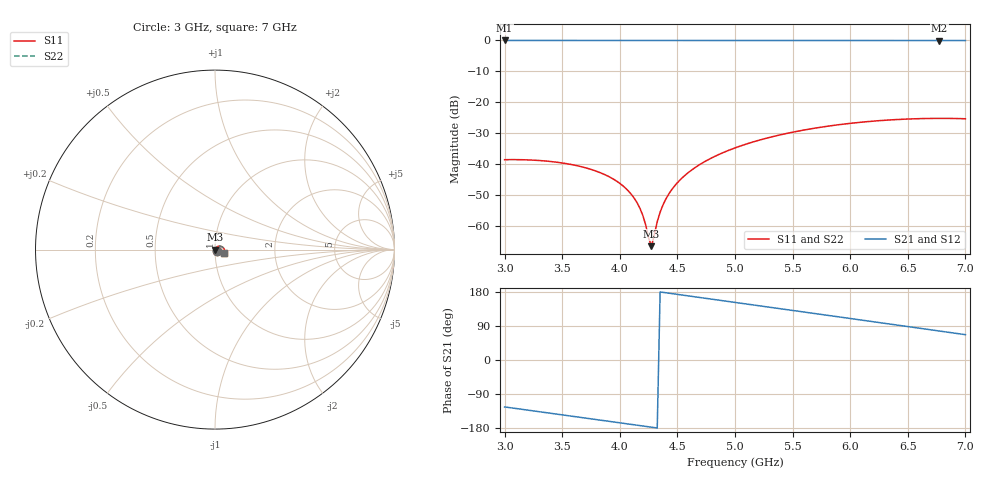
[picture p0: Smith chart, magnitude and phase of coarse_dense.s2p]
! yapnr rf: line-osh-w-w3p00-l20-w-nom, footprint re-simulated (optimization grid)
! spec sha256 6a97b554cf3e21df03ab181912cb1d440353526eea82e4028a0b8e568b2a5cda
! 2 ports renormalized to 50 ohm, e^(+jwt) convention
# GHz S RI R 50
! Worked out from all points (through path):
!   161 points, 3 GHz to 7 GHz, reference 50 ohm
!   highest |S21| = -0.29 dB at 3 GHz (marker M1); lowest = -0.3 dB at 6.775 GHz (marker M2)
!   group delay of S21, straight-line fit = 118 ps
!   lowest |S11| = -66.4 dB at 4.275 GHz (marker M3), VSWR 1.00, Z = 50 + j0.00324 ohm
!   |S11| at or under -10 dB: start of sweep to end of sweep
!   |S22| runs from -66.4 to -25.3 dB; largest |S21 - S12| = 0
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3  0.00943 -0.00705  -0.5381 -0.803  -0.5381 -0.803  0.00943 -0.00705
3.375  0.00677 -0.00884  -0.7347 -0.6276  -0.7347 -0.6276  0.00677 -0.00884
3.675  0.00385 -0.00814  -0.8535 -0.4525  -0.8535 -0.4525  0.00385 -0.00814
3.925  0.00169 -0.00578  -0.9215 -0.2893  -0.9215 -0.2893  0.00169 -0.00578
4.1  0.000728 -0.00319  -0.9508 -0.1688  -0.9508 -0.1688  0.000728 -0.00319
4.15  0.000575 -0.00233  -0.9564 -0.1338  -0.9564 -0.1338  0.000575 -0.00233
4.2  0.000485 -0.00142  -0.9606 -0.0985  -0.9606 -0.0985  0.000485 -0.00142
4.25  0.000464 -0.00046  -0.9635 -0.0631  -0.9635 -0.0631  0.000464 -0.00046
4.275  0.00048 3.24e-05  -0.9645 -0.0454  -0.9645 -0.0454  0.00048 3.24e-05
4.325  0.00057 0.00104  -0.9655 -0.00987  -0.9655 -0.00987  0.00057 0.00104
4.35  0.000645 0.00156  -0.9655 0.0079  -0.9655 0.0079  0.000645 0.00156
4.4  0.000854 0.00262  -0.9645 0.0434  -0.9645 0.0434  0.000854 0.00262
4.45  0.00115 0.0037  -0.9623 0.0789  -0.9623 0.0789  0.00115 0.0037
4.575  0.00226 0.00645  -0.9508 0.1671  -0.9508 0.1671  0.00226 0.00645
4.75  0.00477 0.0103  -0.9213 0.2882  -0.9213 0.2882  0.00477 0.0103
5  0.0102 0.015  -0.8526 0.4524  -0.8526 0.4524  0.0102 0.015
5.3  0.0193 0.0187  -0.7318 0.6289  -0.7318 0.6289  0.0193 0.0187
5.675  0.0325 0.0182  -0.5309 0.8054  -0.5309 0.8054  0.0325 0.0182
6.025  0.044 0.0122  -0.3059 0.9146  -0.3059 0.9146  0.044 0.0122
6.35  0.0512 0.00248  -0.078 0.961  -0.078 0.961  0.0512 0.00248
6.775  0.0527 -0.0129  0.2254 0.9374  0.2254 0.9374  0.0527 -0.0129
7  0.0494 -0.0204  0.3791 0.8864  0.3791 0.8864  0.0494 -0.0204
